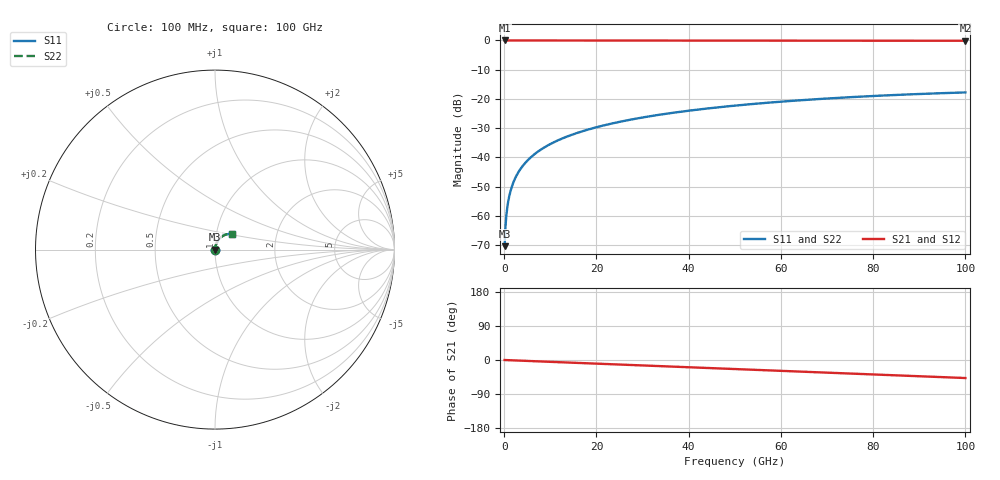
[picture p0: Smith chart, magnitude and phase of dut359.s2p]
! Touchstone file exported from HFSS 2026.1.0
!  File:  C:/ffzhzh/LocalFiles/Ansys_Project_Files/temp_train_TSV_359_1783510173_31944.aedt
!  Generated:  07:30:52 PM Jul  8, 2026
!  Design:  TSV
!  Project:  temp_train_TSV_359_1783510173_31944
! Variables:
!  h_bsmrdl = 2um
!  h_ox = 20um
!  h_rdl = 5um
!  h_sub = 96.81um
!  h_tmrdl = 5um
!  h_tsv = 96.81um
!  h_via = 3um
!  l_bsmrdl = 300um
!  l_sub = 415.82um
!  l_tmrdl = 200um
!  m_sub = 200um
!  pitch = 41.42um
!  r_tsv = 7.91um
!  s_tmrdl = 10um
!  w_bsmrdl = 18um
!  w_sub = 500um
!  w_tmrdl = 12um
!  x_tsv_center1 = 206um
!  x_tsv_center2 = 524um
!  x_tsv_center3 = 736um
!  x_tsv_center4 = 1054um
!  x_tsv_center5 = 1266um
!  x_tsv_center6 = 1584um
# GHz S MA R 50.000000
! Terminal data exported
! Port[1] = TSV1_1_T1
! Port[2] = TSV1_1_T2
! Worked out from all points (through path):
!   1000 points, 100 MHz to 100 GHz, reference 50 ohm
!   highest |S21| = 0.00 dB at 100 MHz (marker M1); lowest = -0.1 dB at 100 GHz (marker M2)
!   group delay of S21, straight-line fit = 1.32 ps
!   lowest |S11| = -70.4 dB at 100 MHz (marker M3), VSWR 1.00, Z = 50 + j0.0215 ohm
!   |S11| at or under -10 dB: start of sweep to end of sweep
!   |S22| runs from -70.4 to -17.8 dB; largest |S21 - S12| = 3e-15
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0.1  0.0003036 45.2  0.9998 -0.1  0.9998 -0.1  0.0003036 45.2
! Gamma 0 0 0 0
! Port Impedance 50 0 50 0
0.4  0.0008718 71.7  0.9997 -0.2  0.9997 -0.2  0.0008718 71.7
0.7  0.001433 76.1  0.9997 -0.4  0.9997 -0.4  0.001433 76.1
0.8  0.001615 76.9  0.9996 -0.4  0.9996 -0.4  0.001615 76.9
1.1  0.002155 78.5  0.9996 -0.5  0.9996 -0.5  0.002155 78.5
1.4  0.002689 79.5  0.9995 -0.7  0.9995 -0.7  0.002689 79.5
1.9  0.003563 80.4  0.9995 -0.9  0.9995 -0.9  0.003563 80.4
2.4  0.004422 80.9  0.9994 -1.2  0.9994 -1.2  0.004422 80.9
3.1  0.005604 81.3  0.9993 -1.5  0.9993 -1.5  0.005604 81.3
3.9  0.006937 81.6  0.9992 -1.9  0.9992 -1.9  0.006937 81.6
4.9  0.008588 81.7  0.9991 -2.4  0.9991 -2.4  0.008588 81.7
6.1  0.01056 81.7  0.999 -3.0  0.999 -3.0  0.01056 81.7
8.9  0.01513 81.2  0.9987 -4.3  0.9987 -4.3  0.01513 81.2
12.4  0.02076 80.1  0.9984 -6.0  0.9984 -6.0  0.02076 80.1
16.8  0.02775 78.5  0.998 -8.1  0.998 -8.1  0.02775 78.5
24.2  0.03931 75.5  0.9973 -11.6  0.9973 -11.6  0.03931 75.5
33.4  0.05324 71.5  0.9963 -16.0  0.9963 -16.0  0.05324 71.5
41.2  0.06459 68.0  0.9953 -19.7  0.9953 -19.7  0.06459 68.0
50.1  0.07692 64.0  0.9942 -24.0  0.9942 -24.0  0.07692 64.0
66.7  0.09783 56.4  0.992 -31.8  0.992 -31.8  0.09783 56.4
83.4  0.1156 48.7  0.9897 -39.7  0.9897 -39.7  0.1156 48.7
100  0.1292 41.0  0.9876 -47.6  0.9876 -47.6  0.1292 41.0
